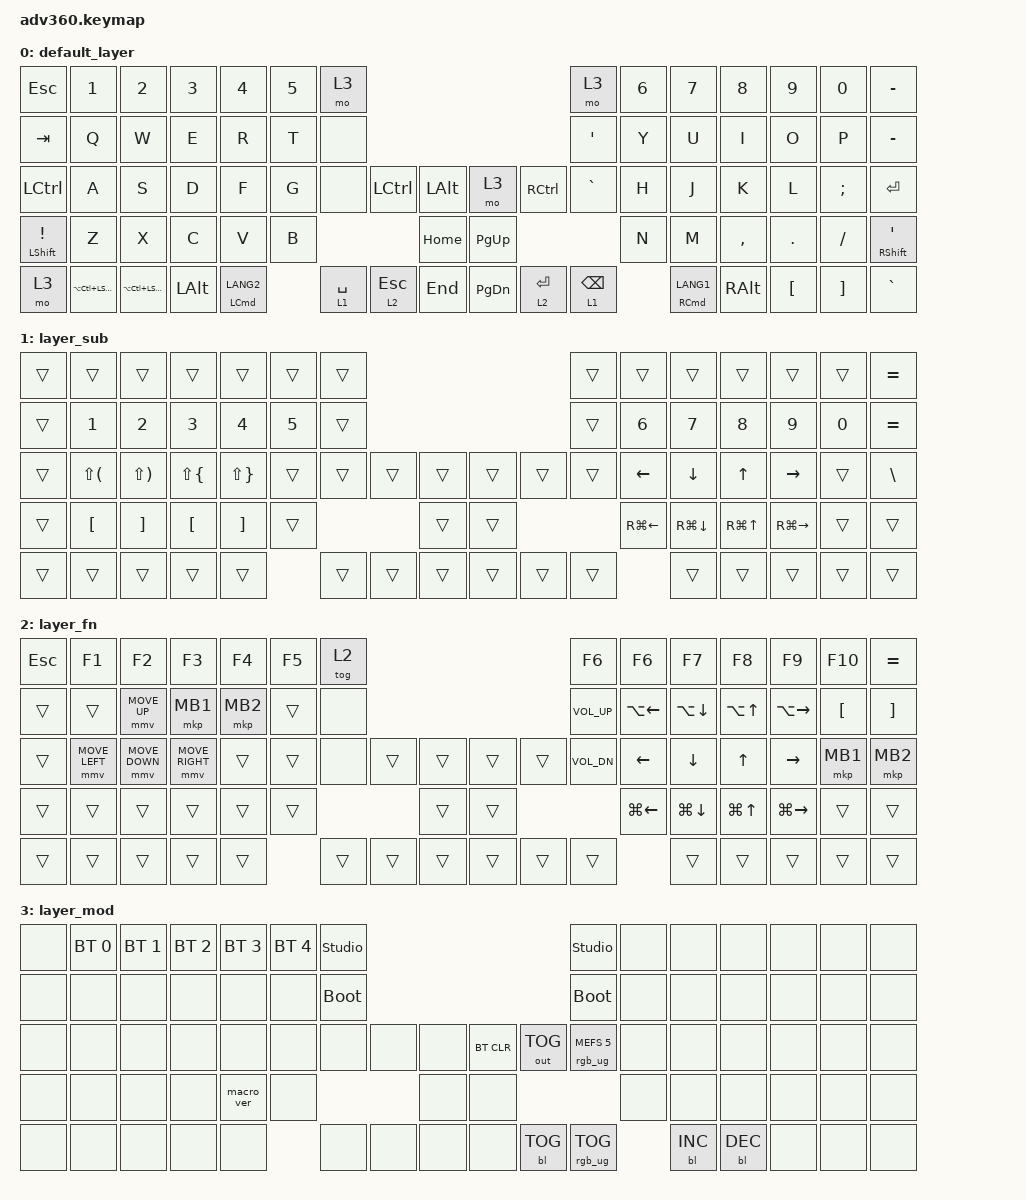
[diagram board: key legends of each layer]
/*
 * Copyright (c) 2020 The ZMK Contributors
 *
 * SPDX-License-Identifier: MIT
 */
/* THIS FILE WAS GENERATED!
 *
 * This file was generated automatically. You may or may not want to
 * edit it directly.
 */

#include <dt-bindings/zmk/stp.h>
#include <behaviors.dtsi>
#include <dt-bindings/zmk/backlight.h>
#include <dt-bindings/zmk/bt.h>
#include <dt-bindings/zmk/keys.h>
#include <dt-bindings/zmk/outputs.h>
#include <dt-bindings/zmk/pointing.h>
#include <dt-bindings/zmk/rgb.h>

/ {
    behaviors {
        #include "macros.dtsi"
    #include "version.dtsi"

        hm: homerow_mods {
            compatible = "zmk,behavior-hold-tap";
            label = "HOMEROW_MODS";
            #binding-cells = <2>;
            tapping-term-ms = <200>;
            quick_tap_ms = <175>;
            flavor = "tap-preferred";
            bindings = <&kp>, <&kp>;
        };

        extra1 {
            display-name = "Red";
            status = "reserved";
        };

        extra2 {
            display-name = "Purple";
            status = "reserved";
        };

        extra3 {
            display-name = "Cyan";
            status = "reserved";
        };

        extra4 {
            display-name = "Yellow";
            status = "reserved";
        };
    };

    combos { compatible = "zmk,combos"; };

    keymap {
        compatible = "zmk,keymap";

        default_layer {
            bindings = <
&kp ESC         &kp N1              &kp N2              &kp N3        &kp N4          &kp N5  &mo 3                                                            &mo 3             &kp N6  &kp N7          &kp N8         &kp N9    &kp N0    &kp MINUS
&kp TAB         &kp Q               &kp W               &kp E         &kp R           &kp T   &none                                                            &kp SINGLE_QUOTE  &kp Y   &kp U           &kp I          &kp O     &kp P     &kp MINUS
&kp LCTRL       &kp A               &kp S               &kp D         &kp F           &kp G   &none        &kp LCTRL     &kp LALT      &mo 3      &kp RCTRL    &kp GRAVE         &kp H   &kp J           &kp K          &kp L     &kp SEMI  &kp ENTER
&mt LSHFT EXCL  &kp Z               &kp X               &kp C         &kp V           &kp B                              &kp HOME      &kp PG_UP                                 &kp N   &kp M           &kp COMMA      &kp DOT   &kp FSLH  &mt RSHIFT SINGLE_QUOTE
&mo 3           &kp LA(LC(LSHIFT))  &kp LA(LC(LSHIFT))  &kp LEFT_ALT  &mt LCMD LANG2          &lt 1 SPACE  &lt 2 ESCAPE  &kp END       &kp PG_DN  &lt 2 ENTER  &lt 1 BACKSPACE           &mt RCMD LANG1  &kp RIGHT_ALT  &kp LBKT  &kp RBKT  &kp GRAVE
            >;
        };

        layer_sub {
            bindings = <
&trans  &trans        &trans        &trans        &trans        &trans  &trans                                      &trans  &trans        &trans        &trans      &trans         &trans  &kp EQUAL
&trans  &kp NUMBER_1  &kp NUMBER_2  &kp NUMBER_3  &kp N4        &kp N5  &trans                                      &trans  &kp N6        &kp N7        &kp N8      &kp N9         &kp N0  &kp EQUAL
&trans  &kp LS(LPAR)  &kp LS(RPAR)  &kp LS(LBRC)  &kp LS(RBRC)  &trans  &trans  &trans  &trans      &trans  &trans  &trans  &kp LEFT      &kp DOWN      &kp UP      &kp RIGHT      &trans  &kp BACKSLASH
&trans  &kp LBKT      &kp RBKT      &kp LBKT      &kp RBKT      &trans                  &trans      &trans                  &kp RG(LEFT)  &kp RG(DOWN)  &kp RG(UP)  &kp RG(RIGHT)  &trans  &trans
&trans  &trans        &trans        &trans        &trans                &trans  &trans  &trans      &trans  &trans  &trans                &trans        &trans      &trans         &trans  &trans
            >;
        };

        layer_fn {
            bindings = <
&kp ESC  &kp F1          &kp F2          &kp F3           &kp F4    &kp F5  &tog 2                                      &kp F6        &kp F6        &kp F7          &kp F8        &kp F9         &kp F10           &kp EQUAL
&trans   &trans          &mmv MOVE_UP    &mkp MB1         &mkp MB2  &trans  &none                                       &kp C_VOL_UP  &kp LA(LEFT)  &kp LA(DOWN)    &kp LA(UP)    &kp LA(RIGHT)  &kp LEFT_BRACKET  &kp RIGHT_BRACKET
&trans   &mmv MOVE_LEFT  &mmv MOVE_DOWN  &mmv MOVE_RIGHT  &trans    &trans  &none   &trans  &trans      &trans  &trans  &kp C_VOL_DN  &kp LEFT      &kp DOWN_ARROW  &kp UP_ARROW  &kp RIGHT      &mkp MB1          &mkp MB2
&trans   &trans          &trans          &trans           &trans    &trans                  &trans      &trans                        &kp LG(LEFT)  &kp LG(DOWN)    &kp LG(UP)    &kp LG(RIGHT)  &trans            &trans
&trans   &trans          &trans          &trans           &trans            &trans  &trans  &trans      &trans  &trans  &trans                      &trans          &trans        &trans         &trans            &trans
            >;
        };

        layer_mod {
            bindings = <
&none  &bt BT_SEL 0  &bt BT_SEL 1  &bt BT_SEL 2  &bt BT_SEL 3  &bt BT_SEL 4  &studio_unlock                                              &studio_unlock          &none  &none       &none       &none  &none  &none
&none  &none         &none         &none         &none         &none         &bootloader                                                 &bootloader             &none  &none       &none       &none  &none  &none
&none  &none         &none         &none         &none         &none         &none           &none  &none      &bt BT_CLR  &out OUT_TOG  &rgb_ug RGB_MEFS_CMD 5  &none  &none       &none       &none  &none  &none
&none  &none         &none         &none         &macro_ver    &none                                &none      &none                                             &none  &none       &none       &none  &none  &none
&none  &none         &none         &none         &none                       &none           &none  &none      &none       &bl BL_TOG    &rgb_ug RGB_TOG                &bl BL_INC  &bl BL_DEC  &none  &none  &none
            >;
        };
    };
};
